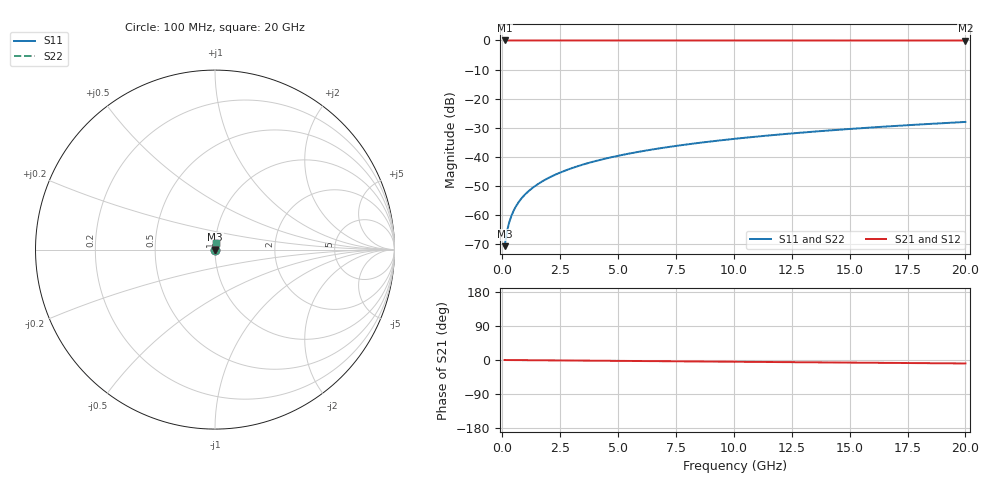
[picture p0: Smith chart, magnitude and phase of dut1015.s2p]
! Touchstone file exported from HFSS 2026.1.0
!  File:  C:/ffzhzh/LocalFiles/Ansys_Project_Files/temp_train_TSV_1015_1783188739_22436.aedt
!  Generated:  02:14:00 AM Jul  5, 2026
!  Design:  TSV
!  Project:  temp_train_TSV_1015_1783188739_22436
! Variables:
!  h_bsmrdl = 2um
!  h_ox = 20um
!  h_rdl = 5um
!  h_sub = 86.96um
!  h_tmrdl = 5um
!  h_tsv = 86.96um
!  h_via = 3um
!  l_bsmrdl = 300um
!  l_sub = 418.14um
!  l_tmrdl = 200um
!  m_sub = 200um
!  pitch = 50.18um
!  r_tsv = 9.07um
!  s_tmrdl = 10um
!  w_bsmrdl = 18um
!  w_sub = 500um
!  w_tmrdl = 12um
!  x_tsv_center1 = 206um
!  x_tsv_center2 = 524um
!  x_tsv_center3 = 736um
!  x_tsv_center4 = 1054um
!  x_tsv_center5 = 1266um
!  x_tsv_center6 = 1584um
# GHz S MA R 50.000000
! Terminal data exported
! Port[1] = TSV1_1_T1
! Port[2] = TSV1_1_T2
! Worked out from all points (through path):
!   200 points, 100 MHz to 20 GHz, reference 50 ohm
!   highest |S21| = 0.00 dB at 100 MHz (marker M1); lowest = 0.0 dB at 20 GHz (marker M2)
!   group delay of S21, straight-line fit = 1.27 ps
!   lowest |S11| = -70.8 dB at 100 MHz (marker M3), VSWR 1.00, Z = 50 + j0.0243 ohm
!   |S11| at or under -10 dB: start of sweep to end of sweep
!   |S22| runs from -70.8 to -28.0 dB; largest |S21 - S12| = 6.6e-15
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0.1  0.0002888 57.4  0.9998 -0.0  0.9998 -0.0  0.0002888 57.4
! Gamma 0 0 0 0
! Port Impedance 50 0 50 0
0.2  0.0005123 70.9  0.9998 -0.1  0.9998 -0.1  0.0005123 70.9
0.3  0.0007443 75.6  0.9998 -0.1  0.9998 -0.1  0.0007443 75.6
0.4  0.0009748 77.7  0.9998 -0.2  0.9998 -0.2  0.0009748 77.7
0.5  0.001201 78.8  0.9998 -0.2  0.9998 -0.2  0.001201 78.8
0.6  0.001423 79.5  0.9997 -0.3  0.9997 -0.3  0.001423 79.5
0.7  0.001641 80.0  0.9997 -0.3  0.9997 -0.3  0.001641 80.0
0.8  0.001855 80.4  0.9997 -0.4  0.9997 -0.4  0.001855 80.4
1  0.002275 81.0  0.9997 -0.5  0.9997 -0.5  0.002275 81.0
1.4  0.003097 81.9  0.9996 -0.7  0.9996 -0.7  0.003097 81.9
1.7  0.003708 82.4  0.9996 -0.8  0.9996 -0.8  0.003708 82.4
2  0.004318 82.8  0.9995 -0.9  0.9995 -0.9  0.004318 82.8
2.7  0.005737 83.4  0.9994 -1.3  0.9994 -1.3  0.005737 83.4
3.5  0.007355 83.7  0.9994 -1.6  0.9994 -1.6  0.007355 83.7
4.2  0.008764 83.8  0.9993 -1.9  0.9993 -1.9  0.008764 83.8
5  0.01037 83.7  0.9992 -2.3  0.9992 -2.3  0.01037 83.7
6.8  0.01395 83.4  0.9991 -3.1  0.9991 -3.1  0.01395 83.4
8.3  0.01691 83.0  0.9989 -3.8  0.9989 -3.8  0.01691 83.0
10.1  0.02044 82.5  0.9988 -4.6  0.9988 -4.6  0.02044 82.5
13.4  0.02689 81.4  0.9985 -6.1  0.9985 -6.1  0.02689 81.4
16.7  0.03329 80.1  0.9981 -7.6  0.9981 -7.6  0.03329 80.1
20  0.03962 78.8  0.9978 -9.1  0.9978 -9.1  0.03962 78.8
